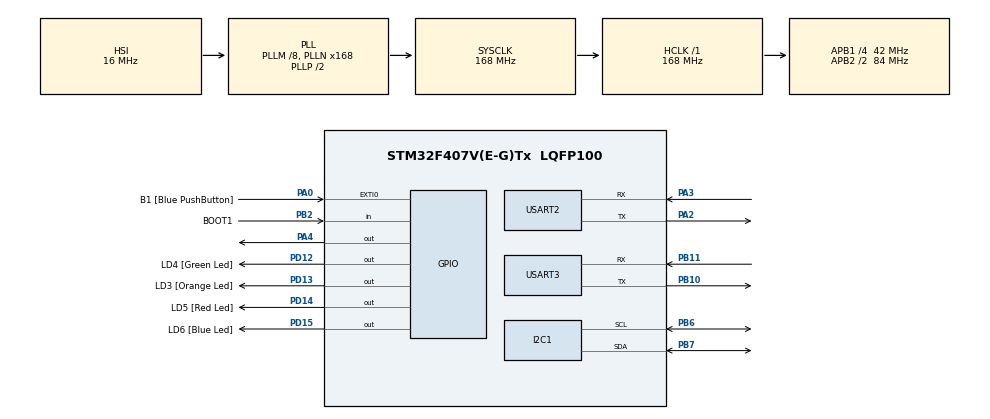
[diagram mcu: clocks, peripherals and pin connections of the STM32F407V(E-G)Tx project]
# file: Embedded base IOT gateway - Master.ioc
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Dma.Request0=USART2_RX
Dma.Request1=USART2_TX
Dma.Request2=USART3_RX
Dma.Request3=USART3_TX
Dma.USART2_RX.0.Direction=DMA_PERIPH_TO_MEMORY
Dma.USART2_RX.0.FIFOMode=DMA_FIFOMODE_DISABLE
Dma.USART2_RX.0.Instance=DMA1_Stream5
Dma.USART2_RX.0.MemDataAlignment=DMA_MDATAALIGN_BYTE
Dma.USART2_RX.0.MemInc=DMA_MINC_ENABLE
Dma.USART2_RX.0.Mode=DMA_NORMAL
Dma.USART2_RX.0.PeriphDataAlignment=DMA_PDATAALIGN_BYTE
Dma.USART2_RX.0.PeriphInc=DMA_PINC_DISABLE
Dma.USART2_RX.0.Priority=DMA_PRIORITY_LOW
Dma.USART2_TX.1.Direction=DMA_MEMORY_TO_PERIPH
Dma.USART2_TX.1.FIFOMode=DMA_FIFOMODE_DISABLE
Dma.USART2_TX.1.Instance=DMA1_Stream6
Dma.USART2_TX.1.MemDataAlignment=DMA_MDATAALIGN_BYTE
Dma.USART2_TX.1.MemInc=DMA_MINC_ENABLE
Dma.USART2_TX.1.Mode=DMA_NORMAL
Dma.USART2_TX.1.PeriphDataAlignment=DMA_PDATAALIGN_BYTE
Dma.USART2_TX.1.PeriphInc=DMA_PINC_DISABLE
Dma.USART2_TX.1.Priority=DMA_PRIORITY_LOW
Dma.USART3_RX.2.Direction=DMA_PERIPH_TO_MEMORY
Dma.USART3_RX.2.FIFOMode=DMA_FIFOMODE_DISABLE
Dma.USART3_RX.2.Instance=DMA1_Stream1
Dma.USART3_RX.2.MemDataAlignment=DMA_MDATAALIGN_BYTE
Dma.USART3_RX.2.MemInc=DMA_MINC_ENABLE
Dma.USART3_RX.2.Mode=DMA_NORMAL
Dma.USART3_RX.2.PeriphDataAlignment=DMA_PDATAALIGN_BYTE
Dma.USART3_RX.2.PeriphInc=DMA_PINC_DISABLE
Dma.USART3_RX.2.Priority=DMA_PRIORITY_LOW
Dma.USART3_TX.3.Direction=DMA_MEMORY_TO_PERIPH
Dma.USART3_TX.3.FIFOMode=DMA_FIFOMODE_DISABLE
Dma.USART3_TX.3.Instance=DMA1_Stream3
Dma.USART3_TX.3.MemDataAlignment=DMA_MDATAALIGN_BYTE
Dma.USART3_TX.3.MemInc=DMA_MINC_ENABLE
Dma.USART3_TX.3.Mode=DMA_NORMAL
Dma.USART3_TX.3.PeriphDataAlignment=DMA_PDATAALIGN_BYTE
Dma.USART3_TX.3.PeriphInc=DMA_PINC_DISABLE
Dma.USART3_TX.3.Priority=DMA_PRIORITY_LOW
Mcu.Family=STM32F4
Mcu.Name=STM32F407V(E-G)Tx
Mcu.Package=LQFP100
NVIC.DMA1_Stream1_IRQn=true\:7\:0\:true\:false\:true\:false\:true\:true
NVIC.DMA1_Stream3_IRQn=true\:7\:0\:true\:false\:true\:false\:true\:true
NVIC.DMA1_Stream5_IRQn=true\:6\:0\:true\:false\:true\:false\:true\:true
NVIC.DMA1_Stream6_IRQn=true\:6\:0\:true\:false\:true\:false\:true\:true
NVIC.PriorityGroup=NVIC_PRIORITYGROUP_4
NVIC.TIM6_DAC_IRQn=true\:15\:0\:false\:false\:true\:true\:true\:true
NVIC.TIM7_IRQn=true\:8\:0\:true\:false\:true\:true\:true\:true
NVIC.TimeBase=TIM6_DAC_IRQn
NVIC.TimeBaseIP=TIM6
NVIC.USART2_IRQn=true\:6\:0\:true\:false\:true\:true\:true\:true
NVIC.USART3_IRQn=true\:7\:0\:true\:false\:true\:true\:true\:true
PA0-WKUP.GPIO_Label=B1 [Blue PushButton]
PA0-WKUP.Signal=GPXTI0
PA2.Mode=Asynchronous
PA2.Signal=USART2_TX
PA3.Mode=Asynchronous
PA3.Signal=USART2_RX
PA4.Signal=GPIO_Output
PB10.Mode=Asynchronous
PB10.Signal=USART3_TX
PB11.Mode=Asynchronous
PB11.Signal=USART3_RX
PB2.GPIO_Label=BOOT1
PB2.GPIO_Mode=GPIO_MODE_INPUT
PB2.GPIO_PuPd=GPIO_NOPULL
PB2.Signal=GPIO_Input
PB6.Mode=I2C
PB6.Signal=I2C1_SCL
PB7.Mode=I2C
PB7.Signal=I2C1_SDA
PD12.GPIO_Label=LD4 [Green Led]
PD12.GPIO_PuPd=GPIO_NOPULL
PD12.GPIO_Speed=GPIO_SPEED_FREQ_LOW
PD12.Signal=GPIO_Output
PD13.GPIO_Label=LD3 [Orange Led]
PD13.GPIO_PuPd=GPIO_NOPULL
PD13.GPIO_Speed=GPIO_SPEED_FREQ_LOW
PD13.Signal=GPIO_Output
PD14.GPIO_Label=LD5 [Red Led]
PD14.GPIO_PuPd=GPIO_NOPULL
PD14.GPIO_Speed=GPIO_SPEED_FREQ_LOW
PD14.Signal=GPIO_Output
PD15.GPIO_Label=LD6 [Blue Led]
PD15.GPIO_PuPd=GPIO_NOPULL
PD15.GPIO_Speed=GPIO_SPEED_FREQ_LOW
PD15.Signal=GPIO_Output
ProjectManager.HeapSize=0x200
ProjectManager.StackSize=0x400
ProjectManager.TargetToolchain=STM32CubeIDE
RCC.48MHZClocksFreq_Value=48000000
RCC.AHBFreq_Value=168000000
RCC.APB1CLKDivider=RCC_HCLK_DIV4
RCC.APB1Freq_Value=42000000
RCC.APB1TimFreq_Value=84000000
RCC.APB2CLKDivider=RCC_HCLK_DIV2
RCC.APB2Freq_Value=84000000
RCC.APB2TimFreq_Value=168000000
RCC.CortexFreq_Value=168000000
RCC.HCLKFreq_Value=168000000
RCC.HSE_VALUE=8000000
RCC.HSI_VALUE=16000000
RCC.LSE_VALUE=32768
RCC.PLLM=8
RCC.PLLN=168
RCC.PLLQ=7
RCC.SYSCLKFreq_VALUE=168000000
RCC.SYSCLKSource=RCC_SYSCLKSOURCE_PLLCLK
RCC.VCOOutputFreq_Value=336000000
TIM7.AutoReloadPreload=TIM_AUTORELOAD_PRELOAD_ENABLE
TIM7.Period=4999
TIM7.Prescaler=8399
USART2.VirtualMode=VM_ASYNC
USART3.VirtualMode=VM_ASYNC
VP_SYS_VS_tim6.Mode=TIM6
VP_TIM7_VS_ClockSourceINT.Mode=Enable_Timer
board=STM32F407G-DISC1

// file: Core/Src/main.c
/* USER CODE BEGIN Header */
/**
  ******************************************************************************
  * @file           : main.c
  * @brief          : Main program body
  ******************************************************************************
  * @attention
  *
  * Copyright (c) 2026 STMicroelectronics.
  * All rights reserved.
  *
  * This software is licensed under terms that can be found in the LICENSE file
  * in the root directory of this software component.
  * If no LICENSE file comes with this software, it is provided AS-IS.
  *
  ******************************************************************************
  */
/* USER CODE END Header */
#include "main.h"

/* USER CODE BEGIN Includes */
#include "stdio.h"
#include "FreeRTOS.h"
#include "task.h"
#include "rs485_driver.h"
#include "ProtocolTask.h"
#include "DeviceManager.h"
#include "SlaveRegistry.h"
#include "lcd_ui.h"
#include "button.h"
#include "lcd_driver.h"
#include "watchdog.h"
#include "upstream.h"
#include "alarm.h"

/* USER CODE END Includes */

I2C_HandleTypeDef hi2c1;

TIM_HandleTypeDef htim7;

UART_HandleTypeDef huart2;
UART_HandleTypeDef huart3;
DMA_HandleTypeDef hdma_usart2_rx;
DMA_HandleTypeDef hdma_usart2_tx;
DMA_HandleTypeDef hdma_usart3_rx;
DMA_HandleTypeDef hdma_usart3_tx;

/* USER CODE BEGIN PV */
#define DWT_CTRL    (*(volatile uint32_t*)0xE0001000)

/* USER CODE END PV */

void SystemClock_Config(void);
static void MX_GPIO_Init(void);
static void MX_DMA_Init(void);
static void MX_USART2_UART_Init(void);
static void MX_TIM7_Init(void);
static void MX_I2C1_Init(void);
static void MX_USART3_UART_Init(void);
/* USER CODE BEGIN PFP */

void ITM_SendString(const char *s);

/* USER CODE END PFP */

/* USER CODE BEGIN 0 */

void vApplicationStackOverflowHook(TaskHandle_t xTask, char *pcTaskName){
    volatile char *name = pcTaskName;
    (void)name;
    while (1) {}
}

void vApplicationMallocFailedHook(void){
    while (1) {}
}

/* USER CODE END 0 */

int main(void)
{

  /* MCU Configuration--------------------------------------------------------*/

  /* Reset of all peripherals, Initializes the Flash interface and the Systick. */
  HAL_Init();

  /* Configure the system clock */
  SystemClock_Config();

  /* Initialize all configured peripherals */
  MX_GPIO_Init();
  MX_DMA_Init();
  MX_USART2_UART_Init();
  MX_TIM7_Init();
  MX_I2C1_Init();
  MX_USART3_UART_Init();
  /* USER CODE BEGIN 2 */
  DWT_CTRL |= ( 1 << 0);
  SEGGER_SYSVIEW_Conf();
  SEGGER_SYSVIEW_Start();

  SysState_Init();
  Registry_Init();
  RS485_Driver_Init();
  Protocol_Init();
  DeviceManager_Init();
  Watchdog_Init();
  Button_Init();
  LCD_UI_Init();
  Alarm_Init();
  Upstream_Init();

  BaseType_t ret;

  ret = xTaskCreate(Protocol_Task, "Protocol", STACK_PROTOCOL, NULL, PRIO_PROTOCOL, &g_protocolTaskHandle);
  configASSERT(ret == pdPASS);

  ret = xTaskCreate(DeviceManager_Task, "DevMgr", STACK_DEVMGR, NULL, PRIO_DEVMGR, NULL);
  configASSERT(ret == pdPASS);

  ret = xTaskCreate(LCD_Task, "LCD", STACK_LCD, NULL, PRIO_LCD, NULL);
  configASSERT(ret == pdPASS);

  ret = xTaskCreate(Button_Task, "Btn", STACK_BUTTON, NULL, PRIO_BUTTON, NULL);
  configASSERT(ret == pdPASS);

  xTaskCreate(Upstream_Task, "Upstream", STACK_UPSTREAM, NULL, PRIO_UPSTREAM, NULL);
  configASSERT(ret == pdPASS);

  ret = xTaskCreate(Watchdog_Task, "WDG", STACK_WATCHDOG, NULL, PRIO_WATCHDOG, NULL);
  configASSERT(ret == pdPASS);

  //start the freeRTOS scheduler
  vTaskStartScheduler();

  /* USER CODE END 2 */

  /* Infinite loop */
  while (1)
  {

  }
}

void SystemClock_Config(void)
{
  RCC_OscInitTypeDef RCC_OscInitStruct = {0};
  RCC_ClkInitTypeDef RCC_ClkInitStruct = {0};

  /** Configure the main internal regulator output voltage
  */
  __HAL_RCC_PWR_CLK_ENABLE();
  __HAL_PWR_VOLTAGESCALING_CONFIG(PWR_REGULATOR_VOLTAGE_SCALE1);

  /** Initializes the RCC Oscillators according to the specified parameters
  * in the RCC_OscInitTypeDef structure.
  */
  RCC_OscInitStruct.OscillatorType = RCC_OSCILLATORTYPE_HSI;
  RCC_OscInitStruct.HSIState = RCC_HSI_ON;
  RCC_OscInitStruct.HSICalibrationValue = RCC_HSICALIBRATION_DEFAULT;
  RCC_OscInitStruct.PLL.PLLState = RCC_PLL_ON;
  RCC_OscInitStruct.PLL.PLLSource = RCC_PLLSOURCE_HSI;
  RCC_OscInitStruct.PLL.PLLM = 8;
  RCC_OscInitStruct.PLL.PLLN = 168;
  RCC_OscInitStruct.PLL.PLLP = RCC_PLLP_DIV2;
  RCC_OscInitStruct.PLL.PLLQ = 7;
  if (HAL_RCC_OscConfig(&RCC_OscInitStruct) != HAL_OK)
  {
    Error_Handler();
  }

  /** Initializes the CPU, AHB and APB buses clocks
  */
  RCC_ClkInitStruct.ClockType = RCC_CLOCKTYPE_HCLK|RCC_CLOCKTYPE_SYSCLK
                              |RCC_CLOCKTYPE_PCLK1|RCC_CLOCKTYPE_PCLK2;
  RCC_ClkInitStruct.SYSCLKSource = RCC_SYSCLKSOURCE_PLLCLK;
  RCC_ClkInitStruct.AHBCLKDivider = RCC_SYSCLK_DIV1;
  RCC_ClkInitStruct.APB1CLKDivider = RCC_HCLK_DIV4;
  RCC_ClkInitStruct.APB2CLKDivider = RCC_HCLK_DIV2;

  if (HAL_RCC_ClockConfig(&RCC_ClkInitStruct, FLASH_LATENCY_5) != HAL_OK)
  {
    Error_Handler();
  }
}

static void MX_I2C1_Init(void)
{

  hi2c1.Instance = I2C1;
  hi2c1.Init.ClockSpeed = 100000;
  hi2c1.Init.DutyCycle = I2C_DUTYCYCLE_2;
  hi2c1.Init.OwnAddress1 = 0;
  hi2c1.Init.AddressingMode = I2C_ADDRESSINGMODE_7BIT;
  hi2c1.Init.DualAddressMode = I2C_DUALADDRESS_DISABLE;
  hi2c1.Init.OwnAddress2 = 0;
  hi2c1.Init.GeneralCallMode = I2C_GENERALCALL_DISABLE;
  hi2c1.Init.NoStretchMode = I2C_NOSTRETCH_DISABLE;
  if (HAL_I2C_Init(&hi2c1) != HAL_OK)
  {
    Error_Handler();
  }

}

static void MX_TIM7_Init(void)
{

  TIM_MasterConfigTypeDef sMasterConfig = {0};

  htim7.Instance = TIM7;
  htim7.Init.Prescaler = TIM7_PRESCALER;
  htim7.Init.CounterMode = TIM_COUNTERMODE_UP;
  htim7.Init.Period = TIM7_PERIOD_MS(PROTO_TIMEOUT_MS);
  htim7.Init.AutoReloadPreload = TIM_AUTORELOAD_PRELOAD_ENABLE;
  if (HAL_TIM_Base_Init(&htim7) != HAL_OK)
  {
    Error_Handler();
  }
  sMasterConfig.MasterOutputTrigger = TIM_TRGO_RESET;
  sMasterConfig.MasterSlaveMode = TIM_MASTERSLAVEMODE_DISABLE;
  if (HAL_TIMEx_MasterConfigSynchronization(&htim7, &sMasterConfig) != HAL_OK)
  {
    Error_Handler();
  }

}

static void MX_USART2_UART_Init(void)
{

  huart2.Instance = USART2;
  huart2.Init.BaudRate = 115200;
  huart2.Init.WordLength = UART_WORDLENGTH_8B;
  huart2.Init.StopBits = UART_STOPBITS_1;
  huart2.Init.Parity = UART_PARITY_NONE;
  huart2.Init.Mode = UART_MODE_TX_RX;
  huart2.Init.HwFlowCtl = UART_HWCONTROL_NONE;
  huart2.Init.OverSampling = UART_OVERSAMPLING_16;
  if (HAL_UART_Init(&huart2) != HAL_OK)
  {
    Error_Handler();
  }

}

static void MX_USART3_UART_Init(void)
{

  huart3.Instance = USART3;
  huart3.Init.BaudRate = 115200;
  huart3.Init.WordLength = UART_WORDLENGTH_8B;
  huart3.Init.StopBits = UART_STOPBITS_1;
  huart3.Init.Parity = UART_PARITY_NONE;
  huart3.Init.Mode = UART_MODE_TX_RX;
  huart3.Init.HwFlowCtl = UART_HWCONTROL_NONE;
  huart3.Init.OverSampling = UART_OVERSAMPLING_16;
  if (HAL_UART_Init(&huart3) != HAL_OK)
  {
    Error_Handler();
  }

}

static void MX_DMA_Init(void)
{

  /* DMA controller clock enable */
  __HAL_RCC_DMA1_CLK_ENABLE();

  /* DMA interrupt init */
  /* DMA1_Stream1_IRQn interrupt configuration */
  HAL_NVIC_SetPriority(DMA1_Stream1_IRQn, 7, 0);
  HAL_NVIC_EnableIRQ(DMA1_Stream1_IRQn);
  /* DMA1_Stream3_IRQn interrupt configuration */
  HAL_NVIC_SetPriority(DMA1_Stream3_IRQn, 7, 0);
  HAL_NVIC_EnableIRQ(DMA1_Stream3_IRQn);
  /* DMA1_Stream5_IRQn interrupt configuration */
  HAL_NVIC_SetPriority(DMA1_Stream5_IRQn, 6, 0);
  HAL_NVIC_EnableIRQ(DMA1_Stream5_IRQn);
  /* DMA1_Stream6_IRQn interrupt configuration */
  HAL_NVIC_SetPriority(DMA1_Stream6_IRQn, 6, 0);
  HAL_NVIC_EnableIRQ(DMA1_Stream6_IRQn);

}

static void MX_GPIO_Init(void)
{
  GPIO_InitTypeDef GPIO_InitStruct = {0};

  /* GPIO Ports Clock Enable */
  __HAL_RCC_GPIOA_CLK_ENABLE();
  __HAL_RCC_GPIOB_CLK_ENABLE();
  __HAL_RCC_GPIOD_CLK_ENABLE();

  /*Configure GPIO pin Output Level */
  HAL_GPIO_WritePin(GPIOA, GPIO_PIN_4, GPIO_PIN_RESET);

  /*Configure GPIO pin Output Level */
  HAL_GPIO_WritePin(GPIOD, LD4_Pin|LD3_Pin|LD5_Pin|LD6_Pin, GPIO_PIN_RESET);

  /*Configure GPIO pin : B1_Pin */
  GPIO_InitStruct.Pin = B1_Pin;
  GPIO_InitStruct.Mode = GPIO_MODE_IT_RISING;
  GPIO_InitStruct.Pull = GPIO_NOPULL;
  HAL_GPIO_Init(B1_GPIO_Port, &GPIO_InitStruct);

  /*Configure GPIO pin : PA4 */
  GPIO_InitStruct.Pin = GPIO_PIN_4;
  GPIO_InitStruct.Mode = GPIO_MODE_OUTPUT_PP;
  GPIO_InitStruct.Pull = GPIO_NOPULL;
  GPIO_InitStruct.Speed = GPIO_SPEED_FREQ_LOW;
  HAL_GPIO_Init(GPIOA, &GPIO_InitStruct);

  /*Configure GPIO pin : BOOT1_Pin */
  GPIO_InitStruct.Pin = BOOT1_Pin;
  GPIO_InitStruct.Mode = GPIO_MODE_INPUT;
  GPIO_InitStruct.Pull = GPIO_NOPULL;
  HAL_GPIO_Init(BOOT1_GPIO_Port, &GPIO_InitStruct);

  /*Configure GPIO pins : LD4_Pin LD3_Pin LD5_Pin LD6_Pin */
  GPIO_InitStruct.Pin = LD4_Pin|LD3_Pin|LD5_Pin|LD6_Pin;
  GPIO_InitStruct.Mode = GPIO_MODE_OUTPUT_PP;
  GPIO_InitStruct.Pull = GPIO_NOPULL;
  GPIO_InitStruct.Speed = GPIO_SPEED_FREQ_LOW;
  HAL_GPIO_Init(GPIOD, &GPIO_InitStruct);

}

/* USER CODE BEGIN 4 */

void ITM_SendString(const char *s)
{

    while (*s)
    {
        ITM_SendChar((uint8_t)*s++);
    }
    ITM_SendChar('\n');

}
/* USER CODE END 4 */

void HAL_TIM_PeriodElapsedCallback(TIM_HandleTypeDef *htim)
{
  /* USER CODE BEGIN Callback 0 */
  if (htim->Instance == TIM7){
	  RS485_OnTimeout();
  }

  /* USER CODE END Callback 0 */
  if (htim->Instance == TIM6)
  {
    HAL_IncTick();
  }
}

void Error_Handler(void)
{
  __disable_irq();
  while (1)
  {
  }
}
